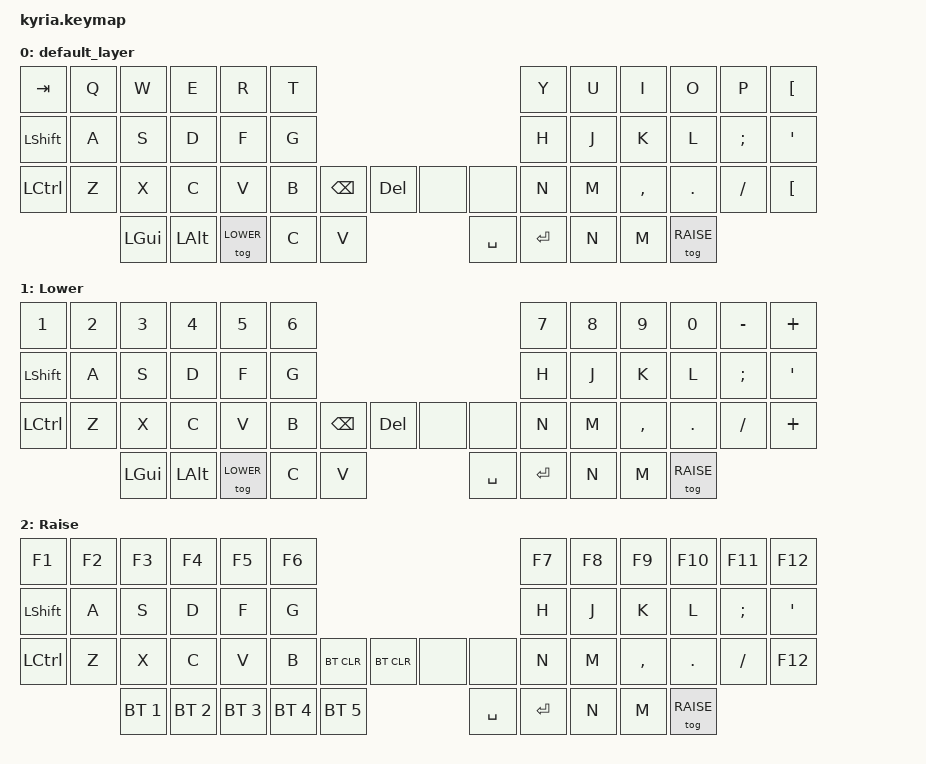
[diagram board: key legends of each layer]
/*
 * Copyright (c) 2020 The ZMK Contributors
 *
 * SPDX-License-Identifier: MIT
 */

#include <behaviors.dtsi>
#include <dt-bindings/zmk/bt.h>
#include <dt-bindings/zmk/keys.h>


// LAYER DEFINITIONS //
#define BASE  0
#define LOWER 1
#define RAISE 2


// HOME ROW MOD CUSTOMIZATIONS //
#define U_TAPPING_TERM 200
#define U_TIMEOUT 50

/ {
    behaviors {
    hm: homerow_mods {
      compatible = "zmk,behavior-hold-tap";
      label = "HOMEROW_MODS";
      #binding-cells = <2>;
      tapping_term_ms =  <U_TAPPING_TERM>;
      flavor = "tap-preferred";
      bindings = <&kp>, <&kp>;
    };
  };

  keymap {
	compatible = "zmk,keymap";

	default_layer {
            
            //                                                  BASE LAYER
            // ╭──────────────────────────────────────────╮                         ╭──────────────────────────────────────────╮
            // │ TAB    Q    W      E       R       T     │                         │ Y     U    I       O      P         [    │
            // │ SHIFT  A    S      D       F       G     ╰───────────╮ ╭───────────╯ H     J    K       L      ;         '    │
            // │ LCTRL  Z    X      C       V       B      BSPC  DEL  │ │ NONE  NONE  N     M    ,       .      /         [    │
            // ╰───────────╮           LGUI    LALT  lower   C    V   │ │ SPACE ENTER       N    M      raise       ╭──────────╯
            //             ╰──────────────────────────────────────────╯ ╰───────────────────────────────────────────╯            
            //

			bindings = <
                &kp TAB         &kp Q      &kp W         &kp E        &kp R        &kp T                                                                &kp Y	  &kp U        &kp I           &kp O      &kp P        &kp LBKT
                &kp LEFT_SHIFT  &kp A      &kp S         &kp D        &kp F        &kp G                                                                &kp H     &kp J        &kp K           &kp L      &kp SEMI     &kp APOS
                &kp LCTRL       &kp Z      &kp X         &kp C        &kp V        &kp B         &kp BSPC   &kp DEL           &none       &none         &kp N     &kp M       &kp COMMA        &kp DOT    &kp SLASH    &kp LBKT
                                                &kp LGUI         &kp LALT        &tog LOWER      &kp C      &kp V             &kp SPACE   &kp ENTER           &kp N     &kp M         &tog RAISE    
			>;
			
		};

        LOWER_layer {                                       
              label = "Lower";                                     
             
            //                                                  LOWER LAYER
            // ╭──────────────────────────────────────────╮                         ╭──────────────────────────────────────────╮
            // │   1    2    3      4       5       6     │                         │ 7     8    9       0      -         =    │
            // │ SHIFT  A    S      D       F       G     ╰───────────╮ ╭───────────╯ H     J    K       L      ;         '    │
            // │ LCTRL  Z    X      C       V       B      BSPC  DEL  │ │ NONE  NONE  N     M    ,       .      /         =    │
            // ╰───────────╮           LGUI    LALT  lower   C    V   │ │ SPACE ENTER       N    M      raise       ╭──────────╯
            //             ╰──────────────────────────────────────────╯ ╰───────────────────────────────────────────╯            
            //

			bindings = <
                &kp N1          &kp N2      &kp N3         &kp N4        &kp N5                                                                &kp N6	  &kp N7        &kp N8           &kp N9      &kp N0        &kp MINUS &kp PLUS
                &kp LEFT_SHIFT  &kp A      &kp S         &kp D        &kp F        &kp G                                                                &kp H     &kp J        &kp K           &kp L      &kp SEMI     &kp APOS
                &kp LCTRL       &kp Z      &kp X         &kp C        &kp V        &kp B         &kp BSPC   &kp DEL           &none       &none         &kp N     &kp M       &kp COMMA        &kp DOT    &kp SLASH    &kp PLUS
                                                &kp LGUI         &kp LALT        &tog LOWER      &kp C      &kp V             &kp SPACE   &kp ENTER           &kp N     &kp M         &tog RAISE    
			>;
       		};


        RAISE_layer {                                       
              label = "Raise";                                     
             
            //                                                  RAISE LAYER
            // ╭──────────────────────────────────────────╮                         ╭──────────────────────────────────────────╮
            // │ F1    F2    F3     F4      F5      F6    │                         │ F7   F8    F9    F10     F11       F12   │
            // │ SHIFT  A    S      D       F       G     ╰───────────╮ ╭───────────╯ H     J    K       L      ;         '    │
            // │ LCTRL  Z    X      C       V       B    BT_CLR BT_CLR│ │ NONE  NONE  N     M    ,       .      /         F12  │
            // ╰───────────╮ bluetooth>  BT1  BT2  BT3   BT4    BT5   │ │ SPACE ENTER       N    M      raise       ╭──────────╯
            //             ╰──────────────────────────────────────────╯ ╰───────────────────────────────────────────╯            
            //

			bindings = <
                &kp F1          &kp F2     &kp F3        &kp F4       &kp F5       &kp F6                                                               &kp F7	  &kp F8       &kp F9          &kp F10    &kp F11      &kp F12
                &kp LEFT_SHIFT  &kp A      &kp S         &kp D        &kp F        &kp G                                                                &kp H     &kp J        &kp K           &kp L      &kp SEMI     &kp APOS
                &kp LCTRL       &kp Z      &kp X         &kp C        &kp V        &kp B           &bt BT_CLR   &bt BT_CLR                &none       &none         &kp N     &kp M       &kp COMMA        &kp DOT    &kp SLASH    &kp F12
                                                &bt BT_SEL 1     &bt BT_SEL 2    &bt BT_SEL 3  &bt BT_SEL 4 &bt BT_SEL 5             &kp SPACE   &kp ENTER           &kp N     &kp M         &tog RAISE    
			>;
       		};
        };
};
